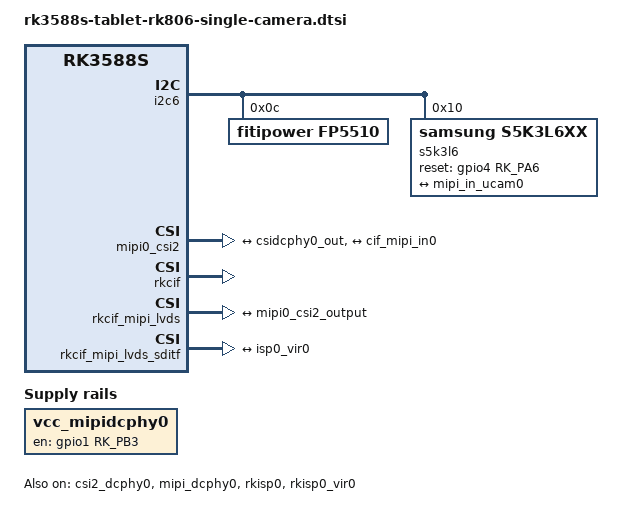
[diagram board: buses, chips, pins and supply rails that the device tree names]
// SPDX-License-Identifier: (GPL-2.0+ OR MIT)
/*
 * Copyright (c) 2022 Rockchip Electronics Co., Ltd.
 *
 */
/ {
	vcc_mipidcphy0: vcc-mipidcphy0-regulator {
		compatible = "regulator-fixed";
		gpio = <&gpio1 RK_PB3 GPIO_ACTIVE_HIGH>;
		pinctrl-names = "default";
		pinctrl-0 = <&mipidcphy0_pwr>;
		regulator-name = "vcc_mipidcphy0";
		enable-active-high;
		regulator-boot-on;
		regulator-always-on;
	};
};

&csi2_dcphy0 {
	status = "okay";

	ports {
		#address-cells = <1>;
		#size-cells = <0>;
		port@0 {
			reg = <0>;
			#address-cells = <1>;
			#size-cells = <0>;

			mipi_in_ucam0: endpoint@1 {
				reg = <1>;
				remote-endpoint = <&s5k3l6_out0>;
				data-lanes = <1 2 3 4>;
			};
		};
		port@1 {
			reg = <1>;
			#address-cells = <1>;
			#size-cells = <0>;

			csidcphy0_out: endpoint@0 {
				reg = <0>;
				remote-endpoint = <&mipi0_csi2_input>;
			};
		};
	};
};

&i2c6 {
	status = "okay";
	pinctrl-names = "default";
	pinctrl-0 = <&i2c6m4_xfer>;

	fp5510: fp5510@c {
		compatible = "fitipower,fp5510";
		status = "okay";
		reg = <0x0c>;
		rockchip,camera-module-index = <0>;
		rockchip,camera-module-facing = "back";
	};

	s5k3l6: s5k3l6@10 {
		compatible = "samsung,s5k3l6xx";
		reg = <0x10>;
		clocks = <&cru CLK_MIPI_CAMARAOUT_M1>;
		clock-names = "xvclk";
		power-domains = <&power RK3588_PD_VI>;
		pinctrl-names = "default";
		pinctrl-0 = <&mipim1_camera1_clk>;
		// power-gpios = <&gpio1 RK_PB3 GPIO_ACTIVE_HIGH>;
		reset-gpios = <&gpio4 RK_PA6 GPIO_ACTIVE_HIGH>;
		//pwdn-gpios = <&gpio1 RK_PA0 GPIO_ACTIVE_HIGH>;
		rockchip,camera-module-index = <0>;
		rockchip,camera-module-facing = "back";
		rockchip,camera-module-name = "default";
		rockchip,camera-module-lens-name = "default";
		lens-focus = <&fp5510>;
		port {
			s5k3l6_out0: endpoint {
				remote-endpoint = <&mipi_in_ucam0>;
				data-lanes = <1 2 3 4>;
			};
		};
	};
};

&mipi_dcphy0 {
	status = "okay";
};

&mipi0_csi2 {
	status = "okay";

	ports {
		#address-cells = <1>;
		#size-cells = <0>;

		port@0 {
			reg = <0>;
			#address-cells = <1>;
			#size-cells = <0>;

			mipi0_csi2_input: endpoint@1 {
				reg = <1>;
				remote-endpoint = <&csidcphy0_out>;
			};
		};

		port@1 {
			reg = <1>;
			#address-cells = <1>;
			#size-cells = <0>;

			mipi0_csi2_output: endpoint@0 {
				reg = <0>;
				remote-endpoint = <&cif_mipi_in0>;
			};
		};
	};
};

&rkcif {
	status = "okay";
};

&rkcif_mipi_lvds {
	status = "okay";

	port {
		cif_mipi_in0: endpoint {
			remote-endpoint = <&mipi0_csi2_output>;
		};
	};
};

&rkcif_mipi_lvds_sditf {
	status = "okay";

	port {
		mipi_lvds_sditf: endpoint {
			remote-endpoint = <&isp0_vir0>;
		};
	};
};

&rkcif_mmu {
	status = "okay";
};

&rkisp0 {
	status = "okay";
};

&isp0_mmu {
	status = "okay";
};

&rkisp0_vir0 {
	status = "okay";

	port {
		#address-cells = <1>;
		#size-cells = <0>;

		isp0_vir0: endpoint@0 {
			reg = <0>;
			remote-endpoint = <&mipi_lvds_sditf>;
		};
	};
};

&pinctrl {
	cam {
		mipidcphy0_pwr: mipidcphy0-pwr {
			rockchip,pins =
				/* camera power en */
				<1 RK_PB3 RK_FUNC_GPIO &pcfg_pull_none>;
		};
	};
};
